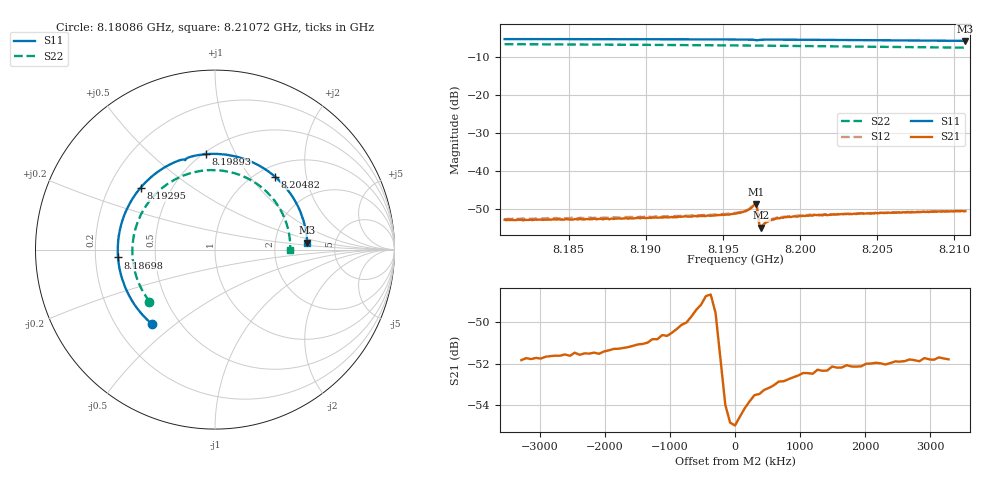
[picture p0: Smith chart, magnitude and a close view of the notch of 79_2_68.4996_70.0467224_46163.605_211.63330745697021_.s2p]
#  HZ  S  RI  R  50.00
! Rohde & Schwarz Vector Network Analyzer
! Rohde-Schwarz,ZNB20-2Port,1311601062101988,3.16
! Created: UTC 3/20/2024, 5:07:13 PM
! freq[Hz]  re:S11  im:S11  re:S21  im:S21  re:S12  im:S12  re:S22  im:S22
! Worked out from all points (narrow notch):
!   401 points, 8.18086 GHz to 8.21072 GHz, reference 50 ohm
!   highest |S21| = -48.71 dB at 8.19713 GHz (marker M1); lowest = -55.0 dB at 8.19751 GHz (marker M2)
!   notch at M2: 3.0 dB deep, 549 kHz wide at half that depth
!   lowest |S11| = -5.8 dB at 8.21072 GHz (marker M3), VSWR 3.13, Z = 154 + j16.4 ohm
!   |S11| at or under -10 dB: nowhere
!   |S22| runs from -7.6 to -6.6 dB; largest |S21 - S12| = 0.00018
!   S11 on the Smith chart (normalised r, x): 8.18086 GHz: 0.35, -0.41; 8.18698 GHz: 0.30, -0.04; 8.19295 GHz: 0.33, +0.32; 8.19893 GHz: 0.51, +0.76; 8.20482 GHz: 1.19, +1.34; 8.21072 GHz: 3.09, +0.33
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8.180858e9  -0.3524 -0.4139  0.00153 -0.00169  0.00153 -0.00176  -0.365 -0.2896
8.183471e9  -0.4681 -0.2752  0.000908 -0.00209  0.00093 -0.00218  -0.4343 -0.1617
8.18586e9  -0.5287 -0.121  0.000252 -0.00228  0.00024 -0.00238  -0.4598 -0.0318
8.18698e9  -0.5402 -0.0437  -1.89e-05 -0.00233  -6.6e-05 -0.00241  -0.4587 0.0305
8.188847e9  -0.5343 0.0863  -0.000588 -0.00228  -0.00066 -0.00237  -0.4384 0.132
8.190863e9  -0.4932 0.221  -0.00119 -0.00211  -0.00127 -0.00214  -0.3911 0.2334
8.192953e9  -0.4149 0.3445  -0.00173 -0.00181  -0.00185 -0.0018  -0.3173 0.323
8.195791e9  -0.2602 0.4698  -0.00249 -0.00113  -0.0026 -0.00107  -0.1846 0.409
8.196537e9  -0.2115 0.4923  -0.00284 -0.000876  -0.00294 -0.000799  -0.1452 0.4232
8.196985e9  -0.1783 0.5015  -0.00345 -0.000353  -0.00356 -0.000223  -0.1208 0.43
8.19706e9  -0.1725 0.5013  -0.00364 -8.16e-06  -0.00371 0.000136  -0.1165 0.4309
8.197135e9  -0.1674 0.4998  -0.00363 0.000547  -0.00365 0.000725  -0.1126 0.4319
8.197433e9  -0.159 0.5074  -0.00178 0.00037  -0.00178 0.000391  -0.0962 0.4353
8.197508e9  -0.1537 0.5105  -0.00178 0.00011  -0.00183 0.000179  -0.0921 0.4362
8.198105e9  -0.1106 0.5234  -0.00222 -0.000229  -0.00229 -0.000118  -0.0587 0.4409
8.198927e9  -0.0523 0.5317  -0.00242 -4.36e-05  -0.00247 7.85e-05  -0.0121 0.4433
8.200793e9  0.0794 0.5262  -0.0025 0.00061  -0.00254 0.000687  0.093 0.4299
8.202734e9  0.2103 0.4862  -0.00238 0.00127  -0.00233 0.00139  0.1964 0.389
8.204825e9  0.3346 0.4065  -0.00196 0.00197  -0.00189 0.00201  0.2932 0.3166
8.205796e9  0.3837 0.3581  -0.00171 0.00224  -0.00163 0.00232  0.3306 0.274
8.208334e9  0.4779 0.2051  -0.000837 0.00274  -0.000764 0.00281  0.3996 0.141
8.210723e9  0.5137 0.039  0.000108 0.00295  0.00016 0.00299  0.419 -0.00127
